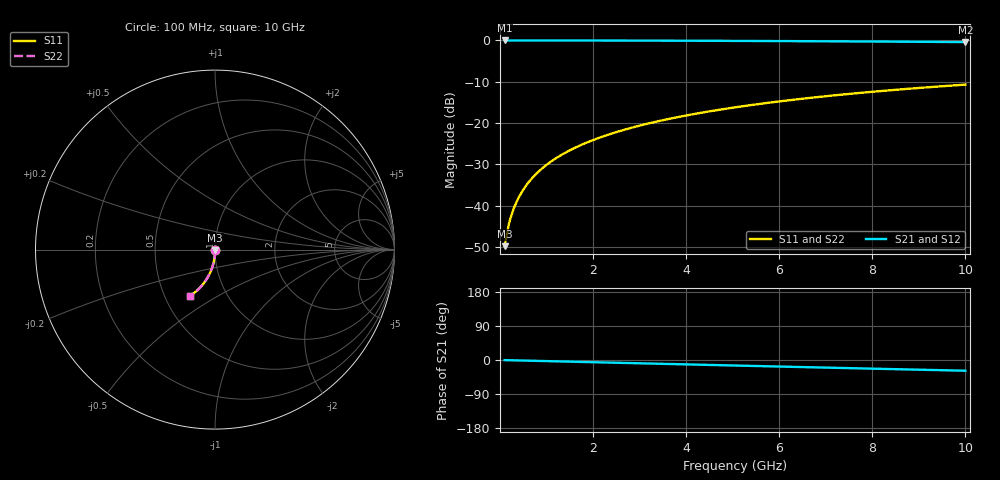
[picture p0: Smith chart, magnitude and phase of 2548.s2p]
# Hz S RI R 50.00
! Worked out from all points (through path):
!   100 points, 100 MHz to 10 GHz, reference 50 ohm
!   highest |S21| = -0.01 dB at 100 MHz (marker M1); lowest = -0.4 dB at 10 GHz (marker M2)
!   group delay of S21, straight-line fit = 7.88 ps
!   lowest |S11| = -49.8 dB at 100 MHz (marker M3), VSWR 1.01, Z = 50.1 - j0.313 ohm
!   |S11| at or under -10 dB: start of sweep to end of sweep
!   |S22| runs from -49.8 to -10.7 dB; largest |S21 - S12| = 0
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1e8  0.000846 -0.00312  0.9991 -0.00506  0.9991 -0.00506  0.000846 -0.00312
2e8  0.000801 -0.00624  0.999 -0.0101  0.999 -0.0101  0.000801 -0.00624
3e8  0.000722 -0.00937  0.999 -0.0152  0.999 -0.0152  0.000722 -0.00937
4e8  0.000611 -0.0125  0.9988 -0.0203  0.9988 -0.0203  0.000611 -0.0125
5e8  0.000468 -0.0156  0.9987 -0.0253  0.9987 -0.0253  0.000468 -0.0156
6e8  0.000293 -0.0187  0.9985 -0.0304  0.9985 -0.0304  0.000293 -0.0187
7e8  8.57e-05 -0.0218  0.9982 -0.0354  0.9982 -0.0354  8.57e-05 -0.0218
8e8  -0.000153 -0.025  0.9979 -0.0405  0.9979 -0.0405  -0.000153 -0.025
9e8  -0.000423 -0.0281  0.9976 -0.0455  0.9976 -0.0455  -0.000423 -0.0281
1.1e9  -0.00106 -0.0343  0.9969 -0.0556  0.9969 -0.0556  -0.00106 -0.0343
1.4e9  -0.00225 -0.0436  0.9956 -0.0707  0.9956 -0.0707  -0.00225 -0.0436
1.8e9  -0.00427 -0.0559  0.9933 -0.0908  0.9933 -0.0908  -0.00427 -0.0559
2.1e9  -0.00611 -0.065  0.9912 -0.1058  0.9912 -0.1058  -0.00611 -0.065
2.5e9  -0.00898 -0.0771  0.988 -0.1257  0.988 -0.1257  -0.00898 -0.0771
2.9e9  -0.0123 -0.0891  0.9842 -0.1454  0.9842 -0.1454  -0.0123 -0.0891
3.4e9  -0.0172 -0.1038  0.9787 -0.1699  0.9787 -0.1699  -0.0172 -0.1038
4.2e9  -0.0265 -0.1267  0.9683 -0.2084  0.9683 -0.2084  -0.0265 -0.1267
5.1e9  -0.039 -0.1513  0.9542 -0.2506  0.9542 -0.2506  -0.039 -0.1513
5.9e9  -0.0518 -0.1721  0.9397 -0.2869  0.9397 -0.2869  -0.0518 -0.1721
6.7e9  -0.0661 -0.1916  0.9234 -0.3221  0.9234 -0.3221  -0.0661 -0.1916
8.4e9  -0.1008 -0.2286  0.8837 -0.3925  0.8837 -0.3925  -0.1008 -0.2286
1e10  -0.1377 -0.2572  0.8409 -0.4527  0.8409 -0.4527  -0.1377 -0.2572
